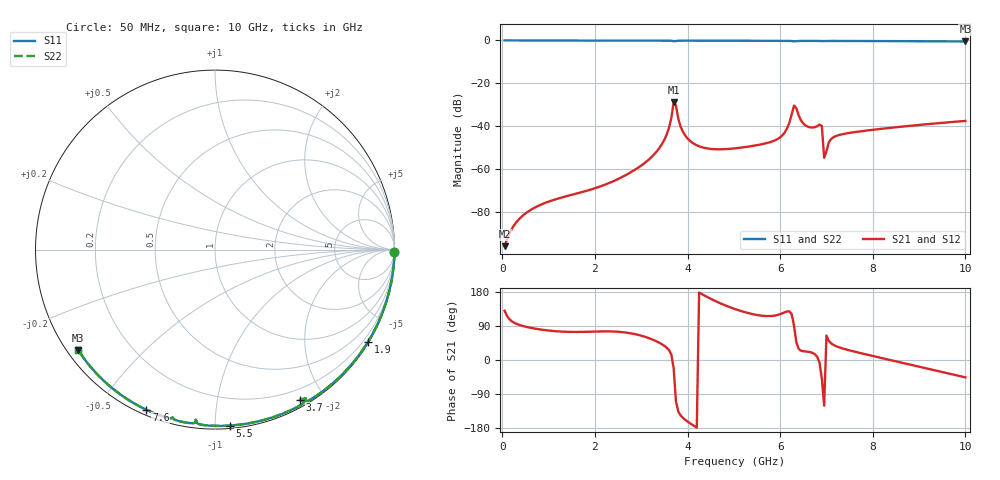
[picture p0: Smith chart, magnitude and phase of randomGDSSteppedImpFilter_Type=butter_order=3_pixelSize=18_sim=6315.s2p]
! freq	dB(S11)	phase(S11)	dB(S12)	phase(S12)
!  dB(S21)	phase(S21)	dB(S22)	phase(S22)
!S-par simulation data
#  GHz  S  DB  R 50
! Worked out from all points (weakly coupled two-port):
!   200 points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, 50 MHz to 10 GHz, reference 50 ohm
!   highest |S21| = -28.90 dB at 3.7 GHz (marker M1); lowest = -95.9 dB at 50 MHz (marker M2)
!   lowest |S11| = -0.5 dB at 10 GHz (marker M3), VSWR 35.74, Z = 1.55 - j16.4 ohm
!   |S11| at or under -10 dB: nowhere
!   |S22| runs from -0.5 to 0.0 dB; largest |S21 - S12| = 0
!   S11 on the Smith chart (normalised r, x): 50 MHz: open; 1.9 GHz: 0.03, -3.58; 3.7 GHz: 0.08, -1.71; 5.5 GHz: 0.02, -1.09; 7.6 GHz: 0.02, -0.66; 10 GHz: 0.03, -0.33
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0.05  -0.00 -0.8  -95.90 129.9  -95.90 129.9  -0.00 -0.8
0.55  -0.01 -9.2  -79.88 86.5  -79.88 86.5  -0.01 -9.2
1.75  -0.04 -28.8  -70.52 74.2  -70.52 74.2  -0.04 -28.8
1.9  -0.04 -31.2  -69.58 74.7  -69.58 74.7  -0.04 -31.2
2.8  -0.06 -45.5  -61.15 69.9  -61.15 69.9  -0.06 -45.5
3.4  -0.07 -54.9  -49.90 44.9  -49.90 44.9  -0.07 -54.9
3.6  -0.09 -58.3  -40.72 25.9  -40.72 25.9  -0.09 -58.2
3.7  -0.34 -60.6  -28.90 -21.0  -28.90 -21.0  -0.34 -60.5
3.9  -0.10 -61.8  -42.55 -152.7  -42.55 -152.7  -0.10 -61.8
4.1  -0.09 -65.0  -47.61 -170.7  -47.61 -170.7  -0.09 -65.0
5.05  -0.12 -78.9  -50.23 133.4  -50.23 133.4  -0.12 -78.9
5.5  -0.14 -85.3  -48.81 118.8  -48.81 118.8  -0.14 -85.3
6.05  -0.17 -93.1  -44.16 123.4  -44.16 123.4  -0.17 -93.1
6.3  -0.41 -96.5  -30.35 89.8  -30.35 89.8  -0.40 -96.5
6.5  -0.20 -98.5  -38.74 23.1  -38.74 23.1  -0.20 -98.5
6.7  -0.20 -101.4  -40.58 18.7  -40.58 18.7  -0.21 -101.4
6.9  -0.30 -104.2  -39.84 -49.2  -39.84 -49.2  -0.32 -104.2
6.95  -0.27 -104.3  -54.69 -120.6  -54.69 -120.6  -0.28 -104.3
7.1  -0.23 -106.5  -45.96 44.0  -45.96 44.0  -0.23 -106.5
7.6  -0.26 -113.1  -42.76 22.3  -42.76 22.3  -0.26 -113.1
8.35  -0.32 -122.8  -40.81 0.6  -40.81 0.6  -0.32 -122.8
10  -0.49 -143.7  -37.51 -45.8  -37.51 -45.8  -0.49 -143.7
